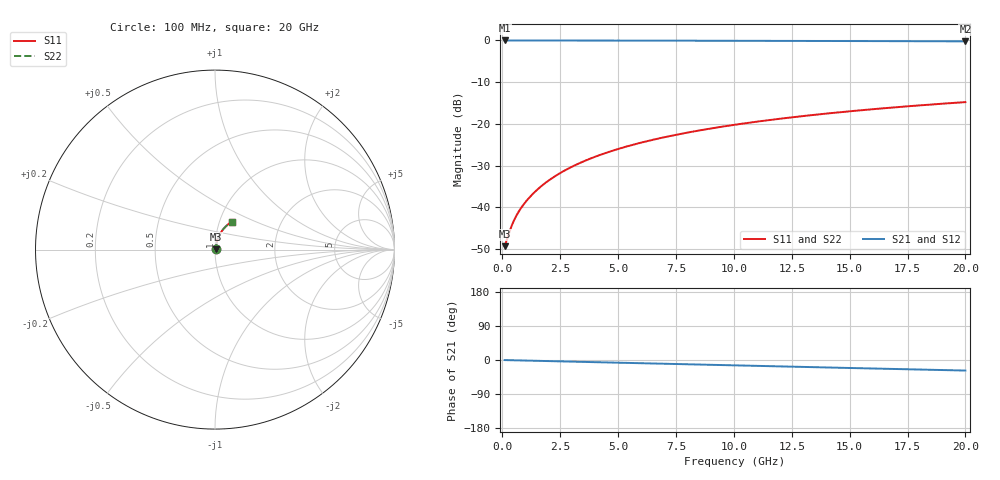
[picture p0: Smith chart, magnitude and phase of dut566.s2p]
! Touchstone file exported from HFSS 2026.1.0
!  File:  C:/ffzhzh/LocalFiles/Ansys_Project_Files/temp_train_BSMRDL_566_1783015415_4048.aedt
!  Generated:  02:04:56 AM Jul  3, 2026
!  Design:  BSMRDL
!  Project:  temp_train_BSMRDL_566_1783015415_4048
! Variables:
!  h_bsmrdl = 2.44um
!  h_ox = 20um
!  h_rdl = 5um
!  h_sub = 80um
!  h_tmrdl = 5um
!  h_tsv = 80um
!  h_via = 3um
!  l_bsmrdl = 438.96um
!  l_sub = 838.96um
!  l_tmrdl = 200um
!  m_sub = 200um
!  pitch = 33.47um
!  r_tsv = 6um
!  s_tmrdl = 10um
!  w_bsmrdl = 22.25um
!  w_sub = 500um
!  w_tmrdl = 12um
!  x_tsv_center1 = 206um
!  x_tsv_center2 = 667.21um
!  x_tsv_center3 = 879.21um
!  x_tsv_center4 = 1340.42um
!  x_tsv_center5 = 1552.42um
!  x_tsv_center6 = 2013.63um
# GHz S MA R 50.000000
! Terminal data exported
! Port[1] = BSM_RDL1_1_T1
! Port[2] = BSM_RDL1_1_T2
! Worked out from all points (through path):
!   200 points, 100 MHz to 20 GHz, reference 50 ohm
!   highest |S21| = -0.03 dB at 100 MHz (marker M1); lowest = -0.2 dB at 20 GHz (marker M2)
!   group delay of S21, straight-line fit = 3.87 ps
!   lowest |S11| = -49.3 dB at 100 MHz (marker M3), VSWR 1.01, Z = 50.3 + j0.126 ohm
!   |S11| at or under -10 dB: start of sweep to end of sweep
!   |S22| runs from -49.3 to -14.8 dB; largest |S21 - S12| = 4.4e-15
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0.1  0.003419 21.4  0.9968 -0.2  0.9968 -0.2  0.003419 21.4
! Gamma 0 0 0 0
! Port Impedance 50 0 50 0
0.3  0.005017 46.0  0.9965 -0.5  0.9965 -0.5  0.005017 46.0
0.4  0.005965 51.9  0.9964 -0.6  0.9964 -0.6  0.005965 51.9
0.5  0.006914 55.9  0.9962 -0.8  0.9962 -0.8  0.006914 55.9
0.6  0.007851 58.9  0.996 -0.9  0.996 -0.9  0.007851 58.9
0.7  0.008776 61.3  0.9959 -1.0  0.9959 -1.0  0.008776 61.3
0.9  0.01061 65.0  0.9957 -1.3  0.9957 -1.3  0.01061 65.0
1.2  0.01337 68.8  0.9955 -1.8  0.9955 -1.8  0.01337 68.8
1.7  0.01805 72.6  0.9952 -2.5  0.9952 -2.5  0.01805 72.6
2.2  0.02281 74.7  0.995 -3.2  0.995 -3.2  0.02281 74.7
2.8  0.02859 76.1  0.9947 -4.0  0.9947 -4.0  0.02859 76.1
3.5  0.03537 76.7  0.9943 -5.0  0.9943 -5.0  0.03537 76.7
4.2  0.04216 76.8  0.9939 -6.0  0.9939 -6.0  0.04216 76.8
5  0.0499 76.6  0.9933 -7.1  0.9933 -7.1  0.0499 76.6
5.9  0.05856 76.0  0.9925 -8.4  0.9925 -8.4  0.05856 76.0
6.8  0.06715 75.1  0.9917 -9.7  0.9917 -9.7  0.06715 75.1
8.3  0.0813 73.6  0.9901 -11.8  0.9901 -11.8  0.08129 73.6
10.1  0.09794 71.4  0.9879 -14.3  0.9879 -14.3  0.09793 71.4
11.7  0.1124 69.5  0.9858 -16.5  0.9858 -16.5  0.1124 69.5
13.4  0.1274 67.3  0.9833 -18.9  0.9833 -18.9  0.1274 67.3
16.7  0.1554 63.1  0.9782 -23.4  0.9782 -23.4  0.1554 63.1
20  0.1819 58.8  0.9726 -27.8  0.9726 -27.8  0.1819 58.8
